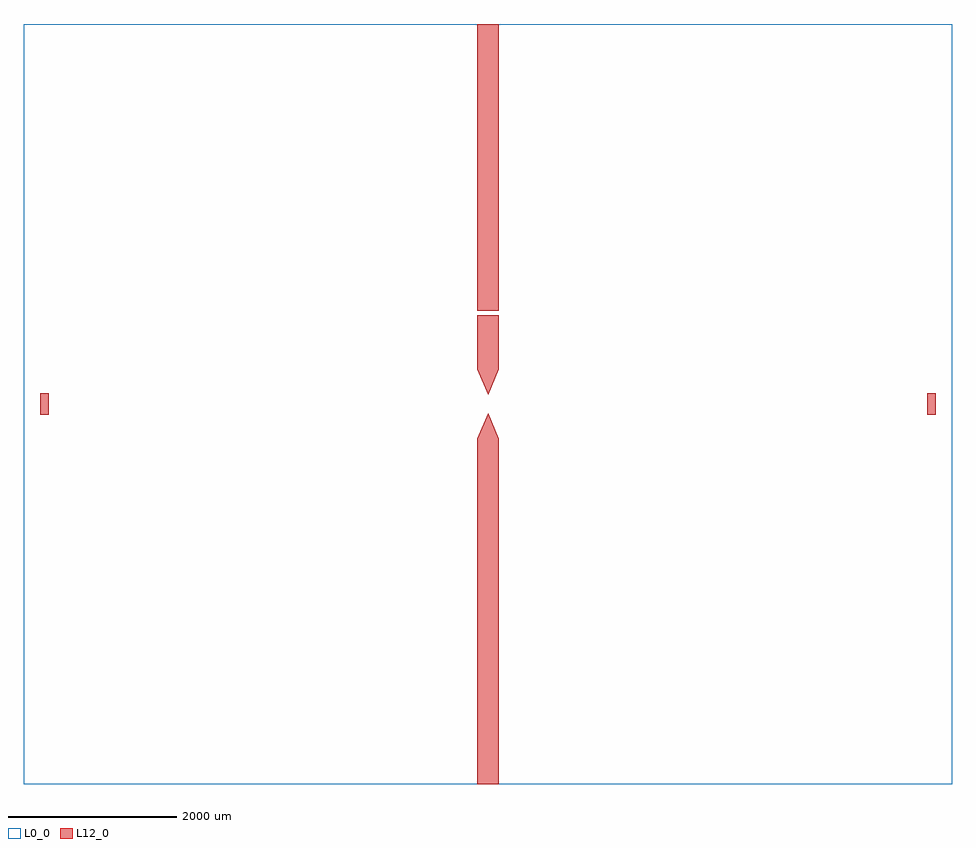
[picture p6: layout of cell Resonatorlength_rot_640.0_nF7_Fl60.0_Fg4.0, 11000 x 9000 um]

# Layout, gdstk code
import gdstk
lib = gdstk.Library(unit=1e-6, precision=1e-09)
def R(c, l, rs):  # rectangles x0, y0, x1, y1
    for r in rs: c.add(gdstk.rectangle(r[:2], r[2:], *l))
def P(c, l, *ps):  # polygons
    for p in ps: c.add(gdstk.Polygon(p, *l))
L0_0 = (0, 0)
L12_0 = (12, 0)

resonatorlength_rot_640_ = lib.new_cell('Resonatorlength_rot_640.0_nF7_Fl60.0_Fg4.0')
R(resonatorlength_rot_640_, L0_0, [(-5500,-4500,5500,4500)])
R(resonatorlength_rot_640_, L12_0, [(-125,-4500,125,-1116), (-125,-1116,-92.714,-1056), (-52.429,-1116,-20.143,-1056), (20.143,-1116,52.429,-1056), (92.714,-1116,125,-1056), (-88.714,-1112,-56.429,-1052), (-16.143,-1112,16.143,-1052), (56.429,-1112,88.714,-1052), (-125,-1052,125,-412), (-5300,-125,-5200,125), (5200,-125,5300,125), (-125,412,125,1052), (-125,1102,125,4500)])
P(resonatorlength_rot_640_, L12_0, [(-125,-412),(125,-412),(0,-109.5)],
  [(-125,412),(125,412),(0,109.5)])

lib.write_gds('Resonatorlength_rot_640.0_nF7_Fl60.0_Fg4.0.gds')
